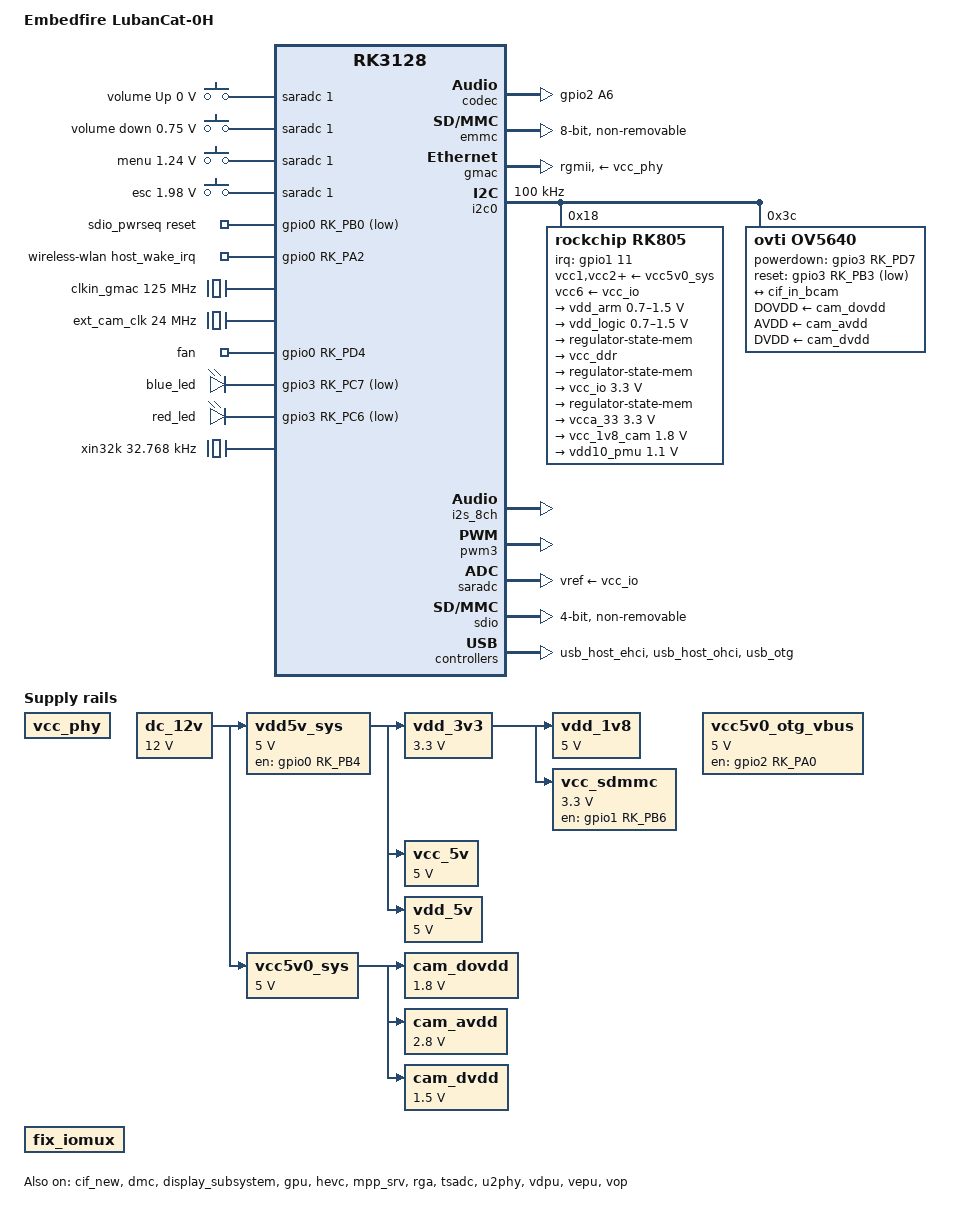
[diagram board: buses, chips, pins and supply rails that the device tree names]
// SPDX-License-Identifier: (GPL-2.0+ OR MIT)
/*
 * Copyright (c) 2022 Rockchip Electronics Co., Ltd
 */

/dts-v1/;
#include <dt-bindings/gpio/gpio.h>
#include <dt-bindings/input/rk-input.h>
#include <dt-bindings/pinctrl/rockchip.h>
#include <dt-bindings/pwm/pwm.h>
#include <dt-bindings/sensor-dev.h>
#include "rk3128.dtsi"
#include "rk312x-android.dtsi"

#include "rk3128-lubancat-hdmi.dtsi"
// #include "rk3128-lubancat-dsi-ebf410125_1080p.dtsi"
// #include "rk3128-lubancat-dsi-ebf410173_1024x600.dtsi"
// #include "rk3128-lubancat-dsi-ebf410177_800x1280.dtsi"
// #include "rk3128-lubancat-dsi-lvds.dtsi"

/ {
	model = "Embedfire LubanCat-0H";
	compatible = "rockchip,rk3128-lubancat-0h", "rockchip,rk3128";

	aliases {
		mmc0 = &emmc;
		mmc1 = &sdio;
		mmc2 = &sdmmc;
	};

	chosen {
		bootargs = "earlycon=uart8250,mmio32,0x20068000 console=ttyFIQ0 root=PARTUUID=614e0000-0000-4b53-8000-1d28000054a9 rootwait rw";
	};

	adc-keys {
		compatible = "adc-keys";
		io-channels = <&saradc 1>;
		io-channel-names = "buttons";
		poll-interval = <100>;
		keyup-threshold-microvolt = <3300000>;

		vol-up-key {
			label = "volume Up";
			linux,code = <KEY_VOLUMEUP>;
			press-threshold-microvolt = <0>;
		};

		vol-down-key{
			label = "volume down";
			linux,code = <KEY_VOLUMEDOWN>;
			press-threshold-microvolt = <750000>;
		};

		menu-key{
			label = "menu";
			linux,code = <KEY_MENU>;
			press-threshold-microvolt = <1240000>;
		};

		esc-key {
			label = "esc";
			linux,code = <KEY_ESC>;
			press-threshold-microvolt = <1980000>;
		};
	};

	codec_sound: codec-sound {
		compatible = "simple-audio-card";
		simple-audio-card,format = "i2s";
		simple-audio-card,name = "rockchip,rk312x-codec";
		simple-audio-card,mclk-fs = <256>;
		simple-audio-card,cpu {
			sound-dai = <&i2s_8ch>;
		};
		simple-audio-card,codec {
			sound-dai = <&codec>;
		};
	};

	sdio_pwrseq: sdio-pwrseq{
		compatible = "mmc-pwrseq-simple";
		pinctrl-name = "default";
		pinctrl-0 = <&wifi_enable_h>;
		reset-gpios = <&gpio0 RK_PB0 GPIO_ACTIVE_LOW>;
	};

	wireless-wlan {
		compatible = "wlan-platdata";
		rockchip,grf = <&grf>;
		wifi_chip_type = "rtl8189es";
		sdio_vref = <3300>;
		WIFI,host_wake_irq = <&gpio0 RK_PA2 GPIO_ACTIVE_HIGH>;
		status = "okay";
	};

	clkin_gmac: external-gmac-clock {
		compatible = "fixed-clock";
		clock-frequency = <125000000>;
		clock-output-names = "gmac_clkin";
		#clock-cells = <0>;
	};

	ext_cam_clk: external-camera0-clock {
		compatible = "fixed-clock";
		#clock-cells = <0>;
		clock-frequency = <24000000>;
		clock-output-names = "ext_cam_clk";
	};

	vcc_phy: vcc-phy-regulator {
		compatible = "regulator-fixed";
		enable-active-high;
		regulator-name = "vcc_phy";
		regulator-always-on;
		regulator-boot-on;
	};

	cam_dovdd: cam_dovdd {
		compatible = "regulator-fixed";
		regulator-name = "cam_dovdd";
		regulator-always-on;
		regulator-boot-on;
		regulator-min-microvolt = <1800000>;
		regulator-max-microvolt = <1800000>;
		vin-supply = <&vcc5v0_sys>;
	};

	cam_avdd: cam_avdd {
		compatible = "regulator-fixed";
		regulator-name = "cam_avdd";
		regulator-always-on;
		regulator-boot-on;
		regulator-min-microvolt = <2800000>;
		regulator-max-microvolt = <2800000>;
		vin-supply = <&vcc5v0_sys>;
	};

	cam_dvdd: cam_dvdd {
		compatible = "regulator-fixed";
		regulator-name = "cam_dvdd";
		regulator-always-on;
		regulator-boot-on;
		regulator-min-microvolt = <1500000>;
		regulator-max-microvolt = <1500000>;
		vin-supply = <&vcc5v0_sys>;
	};

	dc_12v: dc-12v {
		compatible = "regulator-fixed";
		regulator-name = "dc_12v";
		regulator-always-on;
		regulator-boot-on;
		regulator-min-microvolt = <12000000>;
		regulator-max-microvolt = <12000000>;
	};

	vdd5v_sys: vdd5v-sys {
		compatible = "regulator-fixed";
		regulator-name = "vdd5v_sys";
		regulator-boot-on;
		enable-active-high;
		regulator-always-on;
		regulator-min-microvolt = <5000000>;
		regulator-max-microvolt = <5000000>;
		// gpios = <&rk805 1 GPIO_ACTIVE_HIGH>;
		gpio = <&gpio0 RK_PB4 GPIO_ACTIVE_HIGH>;
		pinctrl-names = "default";
		pinctrl-0 = <&vdd5v_sys_en>;
		vin-supply = <&dc_12v>;
	};

	vcc5v0_sys: vcc5v0-sys {
		compatible = "regulator-fixed";
		regulator-name = "vcc5v0_sys";
		regulator-always-on;
		regulator-boot-on;
		regulator-min-microvolt = <5000000>;
		regulator-max-microvolt = <5000000>;
		vin-supply = <&dc_12v>;
	};

	vdd_3v3: vdd-3v3{
		compatible = "regulator-fixed";
		regulator-name = "vdd_3v3";
		regulator-always-on;
		enable-active-high;
		regulator-min-microvolt = <3300000>;
		regulator-max-microvolt = <3300000>;
		vin-supply = <&vdd5v_sys>;
	};

	vdd_1v8: vdd-1v8 {
		compatible = "regulator-fixed";
		regulator-name = "vdd_1v8";
		regulator-boot-on;
		enable-active-high;
		regulator-min-microvolt = <5000000>;
		regulator-max-microvolt = <5000000>;
		// gpios = <&rk805 0 GPIO_ACTIVE_HIGH>;
		vin-supply = <&vdd_3v3>;
	};

	vcc_5v: vcc-5v {
		compatible = "regulator-fixed";
		regulator-name = "vcc_5v";
		regulator-always-on;
		enable-active-high;
		regulator-min-microvolt = <5000000>;
		regulator-max-microvolt = <5000000>;
		vin-supply = <&vdd5v_sys>;
	};

	vdd_5v: vdd-5v {
		compatible = "regulator-fixed";
		regulator-name = "vdd_5v";
		regulator-always-on;
		enable-active-high;
		regulator-min-microvolt = <5000000>;
		regulator-max-microvolt = <5000000>;
		vin-supply = <&vdd5v_sys>;
	};

	vcc5v0_otg_vbus: vcc5v0-otg-vbus-regulator {
		compatible = "regulator-fixed";
		enable-active-high;
		regulator-min-microvolt = <5000000>;
		regulator-max-microvolt = <5000000>;
		gpio = <&gpio2 RK_PA0 GPIO_ACTIVE_HIGH>;
		pinctrl-names = "default";
		pinctrl-0 = <&vcc5v0_otg_vbus_en>;
		regulator-name = "vcc5v0_otg_vbus";
	};

	vcc_sdmmc: vcc-sdmmc{
		compatible = "regulator-fixed";
		enable-active-high;
		regulator-boot-on;
		regulator-min-microvolt = <3300000>;
		regulator-max-microvolt = <3300000>;
		gpio = <&gpio1 RK_PB6 GPIO_ACTIVE_HIGH>;
		pinctrl-names = "default";
		pinctrl-0 = <&sdmmc_pwren>;
		regulator-name = "vcc_sdmmc";
		vin-supply = <&vdd_3v3>;
	};

	// fix pin iomux set
	fix_iomux: fix-iomux {
		compatible = "regulator-fixed";
		pinctrl-names = "default";
		pinctrl-0 = <&gpio_iomux>;
		regulator-name = "vcc-foo";
		regulator-always-on;
	};

	leds: leds {
		status = "okay";
		compatible = "gpio-leds";

		fan: fan {
			label = "fan";
			default-state = "on";
			linux,default-trigger = "none";
			gpios = <&gpio0 RK_PD4 GPIO_ACTIVE_HIGH>;
			pinctrl-names = "default";
			pinctrl-0 = <&fan_pin>;
		};

		blue_led: blue-led {
			label = "blue_led";
			linux,default-trigger = "none";
			default-state = "on";
			gpios = <&gpio3 RK_PC7 GPIO_ACTIVE_LOW>;
			pinctrl-names = "default";
			pinctrl-0 = <&blue_led_pin>;
		};

		red_led: red-led {
			label = "red_led";
			linux,default-trigger = "none";
			default-state = "on";
			gpios = <&gpio3 RK_PC6 GPIO_ACTIVE_LOW>;
			pinctrl-names = "default";
			pinctrl-0 = <&red_led_pin>;
		};
	};

	xin32k: xin32k {
		compatible = "fixed-clock";
		clock-frequency = <32768>;
		clock-output-names = "xin32k";
		#clock-cells = <0>;
	};
};

&cif_new {
	status = "okay";

	ports {
		port@0 {
			cif_in_bcam: endpoint@0 {
				//reg = <2>;
				remote-endpoint = <&ov5640_out>;
				vsync-active = <0>;
				hsync-active = <1>;
			};
		};
	};
};

&codec{
	status = "okay";
	spk-ctl-gpios = <&gpio2 RK_PA6 GPIO_ACTIVE_HIGH>;
	// hp-ctl-gpios = <&gpio3 RK_PC4 GPIO_ACTIVE_LOW>;
	spk-mute-delay = <200>;
	hp-mute-delay = <100>;
	rk312x_for_mid = <1>;
	is_rk3128 = <1>;
	spk_volume = <25>;
	hp_volume = <25>;
	capture_volume = <26>;
	gpio_debug = <1>;
	codec_hp_det = <1>;
	#sound-dai-cells = <0>;
	pinctrl-names = "default";
	// pinctrl-0 = <&spk_ctl_h>, <&hp_ctl_h>;
	pinctrl-0 = <&spk_ctl_h>;
};

&cpu0 {
	cpu-supply = <&vdd_arm>;
};

&dmc {
	center-supply = <&vdd_logic>;
	status = "okay";
};

&display_subsystem {
	status = "okay";
};

&emmc {
	bus-width = <8>;
	cap-mmc-highspeed;
	supports-emmc;
	disable-wp;
	non-removable;
	num-slots = <1>;
	pinctrl-names = "default";
	pinctrl-0 = <&emmc_clk &emmc_cmd &emmc_bus8>;
	status = "okay";
};

&gmac {
	assigned-clocks = <&cru SCLK_MAC>;
	assigned-clock-parents = <&clkin_gmac>;
	clock_in_out = "input";
	pinctrl-names = "default";
	pinctrl-0 = <&rgmii_pins>;
	phy-supply = <&vcc_phy>;
	phy-mode = "rgmii";
	snps,reset-active-low;
	snps,reset-delays-us = <0 20000 100000>;
	snps,reset-gpios = <&gpio2 RK_PB2 GPIO_ACTIVE_LOW>;
	tx_delay = <0x0d>;
	rx_delay = <0x08>;
	status = "okay";
};

&gpu {
	status = "okay";
	mali-supply = <&vdd_logic>;
};

&hevc {
	status = "okay";
};

&hevc_mmu {
	status = "okay";
};

&i2c0 {
	status = "okay";
	clock-frequency = <100000>;

	rk805: rk805@18 {
		compatible = "rockchip,rk805";
		status = "okay";
		reg = <0x18>;
		interrupt-parent = <&gpio1>;
		interrupts = <11 IRQ_TYPE_LEVEL_LOW>;
		pinctrl-names = "default";
		pinctrl-0 = <&pmic_int>,<&rk805_default>;
		rockchip,system-power-controller;
		wakeup-source;
		gpio-controller;
		#gpio-cells = <2>;
		#clock-cells = <1>;
		clock-output-names = "rk805-clkout1", "rk805-clkout2";

		vcc1-supply = <&vcc5v0_sys>;
		vcc2-supply = <&vcc5v0_sys>;
		vcc3-supply = <&vcc5v0_sys>;
		vcc4-supply = <&vcc5v0_sys>;
		vcc5-supply = <&vcc5v0_sys>;
		vcc6-supply = <&vcc_io>;

		rk805_default: pinmux {
			gpio01 {
				pins = "gpio0", "gpio1";
				function = "gpio";
				output-high;
			};
		};

		rtc {
			status = "okay";
		};

		pwrkey {
			status = "okay";
		};

		// gpio {
		// 	output-high;
		// 	status = "okay";
		// };

		regulators {
			compatible = "rk805-regulator";
			status = "okay";
			#address-cells = <1>;
			#size-cells = <0>;

			vdd_arm: DCDC_REG1 {
				regulator-name = "vdd_arm";
				regulator-min-microvolt = <700000>;
				regulator-max-microvolt = <1500000>;
				regulator-initial-mode = <0x1>;
				regulator-initial-state = <3>;
				regulator-boot-on;
				regulator-always-on;
				regulator-state-mem {
					regulator-state-mode = <0x2>;
					regulator-state-enabled;
					regulator-state-uv = <975000>;
				};
			};

			vdd_logic: DCDC_REG2 {
				regulator-name = "vdd_logic";
				regulator-min-microvolt = <700000>;
				regulator-max-microvolt = <1500000>;
				regulator-initial-mode = <0x1>;
				regulator-ramp-delay = <12500>;
				regulator-boot-on;
				regulator-always-on;
				regulator-state-mem {
					regulator-mode = <0x2>;
					regulator-on-in-suspend;
					regulator-suspend-microvolt = <1000000>;
				};
			};

			vcc_ddr: DCDC_REG3 {
				regulator-name = "vcc_ddr";
				regulator-initial-mode = <0x1>;
				regulator-boot-on;
				regulator-always-on;
				regulator-state-mem {
					regulator-mode = <0x2>;
					regulator-on-in-suspend;
				};
			};

			vcc_io: DCDC_REG4 {
				regulator-name = "vcc_io";
				regulator-min-microvolt = <3300000>;
				regulator-max-microvolt = <3300000>;
				regulator-initial-mode = <0x1>;
				regulator-boot-on;
				regulator-always-on;
				regulator-state-mem {
					regulator-mode = <0x2>;
					regulator-on-in-suspend;
					regulator-suspend-microvolt = <3300000>;
				};
			};

			vcca_33: LDO_REG1 {
				regulator-name = "vcca_33";
				regulator-min-microvolt = <3300000>;
				regulator-max-microvolt = <3300000>;
				regulator-initial-state = <3>;
				regulator-boot-on;
				regulator-always-on;
				regulator-state-mem {
					regulator-on-in-suspend;
					regulator-suspend-microvolt = <3300000>;
				};
			};

			vcc_1v8_cam: LDO_REG2 {
				regulator-name = "vcc_1v8_cam";
				regulator-min-microvolt = <1800000>;
				regulator-max-microvolt = <1800000>;
				regulator-boot-on;
				regulator-always-on;
				regulator-state-mem {
					regulator-on-in-suspend;
					regulator-suspend-microvolt = <1800000>;
				};
			};

			vdd10_pmu: LDO_REG3 {
				regulator-name = "vdd10_pmu";
				regulator-min-microvolt = <1100000>;
				regulator-max-microvolt = <1100000>;
				regulator-boot-on;
				regulator-always-on;
				regulator-state-mem {
					regulator-on-in-suspend;
					regulator-suspend-microvolt = <1100000>;
				};
			};
		};
	};

	dw9714: dw9714@c {
		status = "disabled";
		compatible = "dongwoon,dw9714";
		reg = <0xc>;
		rockchip,camera-module-index = <0>;
		rockchip,vcm-max-current = <100>;
		rockchip,vcm-start-current = <0>;
		rockchip,vcm-rated-current = <100>;
		rockchip,vcm-step-mode = <0xd>;
		rockchip,vcm-dlc-enable = <0>;
		rockchip,vcm-mclk = <0>;
		rockchip,vcm-t-src = <0>;
		rockchip,camera-module-facing = "back";
	};

	 ov5640: camera@3c {
		status = "okay";
		compatible = "ovti,ov5640";
		reg = <0x3c>;
		clocks = <&ext_cam_clk>;
		clock-names = "xclk";
		powerdown-gpios = <&gpio3 RK_PD7 GPIO_ACTIVE_HIGH>;
		reset-gpios = <&gpio3 RK_PB3 GPIO_ACTIVE_LOW>;

		DOVDD-supply= <&cam_dovdd>; /* 1.8v */
		AVDD-supply = <&cam_avdd>;  /* 2.8v */
		DVDD-supply = <&cam_dvdd>;  /* 1.5v */

		port {
			/* Parallel bus endpoint */
			ov5640_out: endpoint {
				remote-endpoint = <&cif_in_bcam>;
				bus-width = <8>;
				data-shift = <2>;
				hsync-active = <0>;
				vsync-active = <0>;
				pclk-sample = <1>;
			};
		};
	};
};

// hdmi ddc
&i2c3{
	status = "disabled";
	hym8563: hym8563@51 {
		compatible = "haoyu,hym8563";
		status = "disabled";
		reg = <0x51>;
		#clock-cells = <0>;
		clock-frequency = <32768>;
		clock-output-names = "hym8563";
	};
};

&i2s_8ch{
	status = "okay";
	#sound-dai-cells = <0>;
};

&mpp_srv {
	status = "okay";
};

&pwm2 {
	status = "disabled";
};

&pwm3{
	interrupts = <GIC_SPI 30 IRQ_TYPE_LEVEL_HIGH>;
	compatible = "rockchip,remotectl-pwm";
	pinctrl-names = "default";
	remote_pwm_id = <3>;
	handle_cpu_id = <0>;
	remote_support_psci = <0>;
	status = "okay";
	ir_key1 {
		rockchip,usercode = <0x909>;
		rockchip,key_table =
			<0xf4   KEY_POWER>,
			<0xe6   KEY_SLEEP>,
			<0xe4   KEY_WAKEUP>,
			<0xed   KEY_VOLUMEUP>,
			<0xec   KEY_VOLUMEDOWN>,
			<0xef   KEY_UP>,
			<0xee   KEY_DOWN>;
	};
};

&rga {
	status = "okay";
};

&saradc {
	status = "okay";
	vref-supply = <&vcc_io>;
};

&sdio {
	max-frequency = <50000000>;
	supports-sdio;
	bus-width = <4>;
	disable-wp;
	cap-sd-highspeed;
	cap-sdio-irq;
	keep-power-in-suspend;
	pinctrl-names = "default";
	pinctrl-0 = <&sdio_cmd &sdio_clk &sdio_bus4>;
	mmc-pwrseq = <&sdio_pwrseq>;
	non-removable;
	sd-uhs-sdr104;
	status = "okay";
};

&sdmmc {
	cap-mmc-highspeed;
	cap-sd-highspeed;
	no-sdio;
	no-mmc;
	vmmc-supply = <&vcc_sdmmc>;
	card-detect-delay = <800>;
	pinctrl-names = "default";
	pinctrl-0 = <&sdmmc_clk &sdmmc_cmd &sdmmc_bus4 &sdmmc_det>;
	rockchip,default-sample-phase=<90>;
	status = "disabled";
};

&tsadc {
	status = "okay";
};

&uart0 {
	status = "disabled";
};

&uart1{
	status = "disabled";
};

&uart2{
	status = "disabled";
};

&u2phy {
	status = "okay";

	u2phy_otg: otg-port {
		phy-supply = <&vcc5v0_otg_vbus>;
		status = "okay";
	};

	u2phy_host: host-port {
		phy-supply = <&vdd5v_sys>;
		status = "okay";
	};
};

&usb_host_ehci {
	status = "okay";
};

&usb_host_ohci {
	status = "okay";
};

&usb_otg {
	status = "okay";
};

&vdpu {
	status = "okay";
};

&vepu {
	status = "okay";
};

&vop {
	status = "okay";
};

&vop_mmu {
	status = "okay";
};

&vpu_mmu {
	status = "okay";
};

&pinctrl {
	codec{
		spk_ctl_h: spk-ctl-h{
			rockchip,pins = <2 RK_PA6 RK_FUNC_GPIO &pcfg_pull_none>;
		};
	};

	leds {
		fan_pin: fan-pin {
			rockchip,pins = <0 RK_PD4 RK_FUNC_GPIO &pcfg_pull_none>;
		};

		blue_led_pin: blue-led-pin{
			rockchip,pins = <3 RK_PC7 RK_FUNC_GPIO &pcfg_pull_none>;
		};

		red_led_pin: red-led-pin{
			rockchip,pins = <3 RK_PC6 RK_FUNC_GPIO &pcfg_pull_none>;
		};
	};

	pmic {
		pmic_int: pmic-int {
			rockchip,pins = <1 RK_PB4 RK_FUNC_GPIO &pcfg_pull_default>;
		};

		pmic_sleep: pmic-sleep {
			rockchip,pins = <3 RK_PC1 2 &pcfg_pull_default>;
		};
	};

	power {
		vdd5v_sys_en:vdd5v-sys-en{
			rockchip,pins = <0 RK_PB4 RK_FUNC_GPIO &pcfg_pull_none>;
		};
	};

	usb2 {
		vcc5v0_otg_vbus_en:vcc5v0-otg-vbus-en{
			rockchip,pins = <2 RK_PA0 RK_FUNC_GPIO &pcfg_pull_none>;
		};
	};

	sdio_pwrseq{
		wifi_enable_h: wifi-enable-h{
			rockchip,pins = <0 RK_PB0 RK_FUNC_GPIO &pcfg_pull_none>;
		};
	};

	gpio{
		gpio_iomux: gpio-iomux{
			rockchip,pins = <2 RK_PA2 RK_FUNC_GPIO &pcfg_pull_default>,
				<2 RK_PA3 RK_FUNC_GPIO &pcfg_pull_default>,
				<2 RK_PA4 RK_FUNC_GPIO &pcfg_pull_default>,
				<2 RK_PA5 RK_FUNC_GPIO &pcfg_pull_default>;
		};
	};
};
